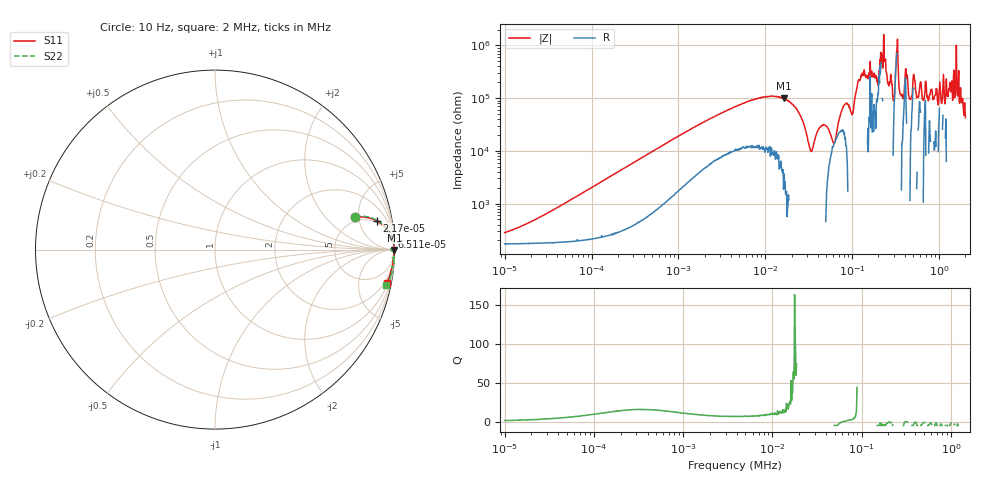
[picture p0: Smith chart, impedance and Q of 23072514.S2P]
!Agilent Technologies,E5061B,MY49204007,A.02.12
!Date: Wed Jul 23 11:23:07 2025
!Data & Calibration Information:
!Freq	S11:SOLT2(ON)	S21:SOLT2(ON)	S12:SOLT2(ON)	S22:SOLT2(ON)
# Hz S dB R 50
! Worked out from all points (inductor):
!   1040 points, 10 Hz to 2 MHz, reference 50 ohm
!   read as one part in series: L = 3.25 H near 26.2 Hz
!   highest Q = 40.4 at 16.19 kHz (marker M1), where L = 970 mH
!   self-resonance near 33.45 kHz
!   S11 on the Smith chart (normalised r, x): 10 Hz: 4.47, +4.45; 21.7 Hz: 5, +9; 65.11 Hz: 5, +26; 2 MHz: 1, -10
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10  -1.94 12.9  -10.93 -39.3  -10.89 -39.3  -1.92 13.2
21.703  -0.77 10.1  -14.46 -58.4  -14.46 -58.4  -0.76 10.3
65.115  -0.12 4.2  -22.57 -77.2  -22.57 -77.2  -0.11 4.4
77.209  -0.09 3.6  -23.97 -78.9  -23.98 -78.9  -0.08 3.8
588.818  -0.01 0.5  -41.19 -85.3  -41.20 -85.3  0.01 0.7
4498.482  -0.00 0.0  -56.76 -81.0  -56.73 -81.4  0.01 0.2
16187.86  -0.00 -0.1  -59.88 -89.0  -59.91 -89.0  0.01 -0.0
34305.13  -0.04 -0.1  -40.19 160.1  -40.17 160.0  -0.16 0.2
45278.81  -0.01 -0.2  -49.66 96.3  -49.64 96.4  -0.00 -0.1
62179.94  -0.03 -0.3  -43.02 5.9  -43.06 6.0  -0.16 -0.1
129465.5  -0.01 -0.7  -69.44 103.1  -68.21 104.4  0.01 -0.4
192645.3  -0.02 -1.1  -66.22 64.3  -67.87 70.3  0.00 -0.8
226760  -0.01 -1.2  -73.03 94.1  -71.57 102.2  0.01 -1.1
261946.5  -0.02 -1.3  -65.61 97.8  -67.22 102.1  0.00 -1.3
294710.7  -0.03 -1.6  -59.48 83.3  -59.76 86.8  -0.02 -1.5
331153.5  -0.02 -1.8  -82.38 139.4  -77.01 135.2  -0.01 -1.6
371645.6  -0.02 -1.9  -60.90 80.7  -60.54 83.4  -0.00 -1.9
415907  -0.02 -2.2  -71.09 76.6  -71.79 58.8  -0.01 -2.1
466262.9  -0.02 -2.5  -59.72 81.9  -60.30 80.1  -0.01 -2.6
1016303  -0.07 -5.5  -66.21 94.3  -65.33 97.7  -0.03 -5.9
1574823  -0.14 -8.5  -80.24 -124.8  -69.50 161.5  -0.10 -9.0
2000000  -0.21 -11.0  -52.91 -135.4  -52.76 -131.3  -0.25 -11.8
